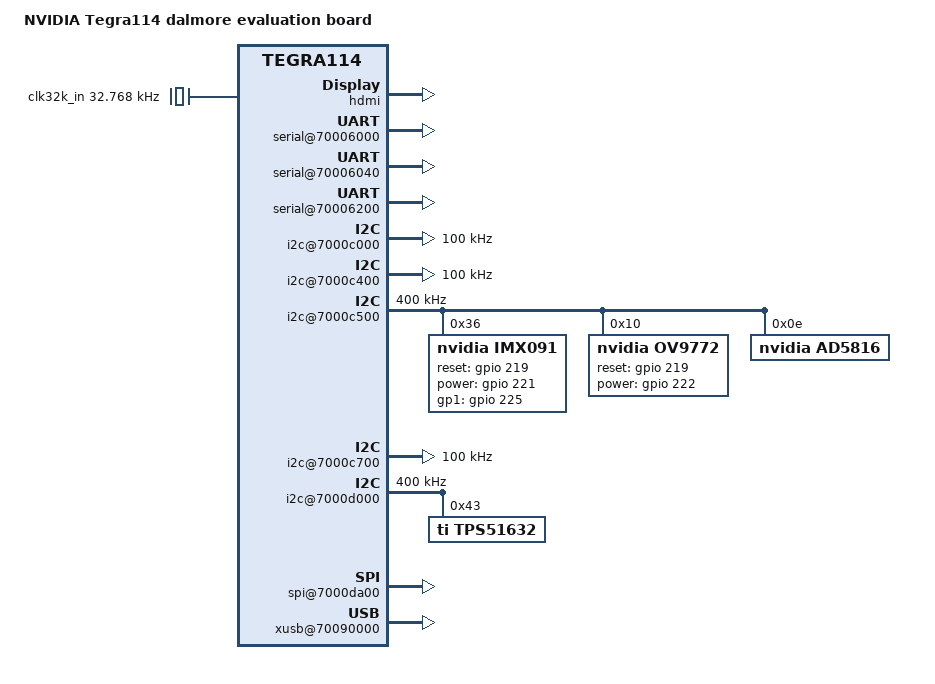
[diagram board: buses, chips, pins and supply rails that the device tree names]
# 1 "arch/arm/boot/dts/tegra114-dalmore.dts"
# 1 "<built-in>"
# 1 "<command-line>"
# 1 "arch/arm/boot/dts/tegra114-dalmore.dts"
# 1 "arch/arm/boot/dts/tegra114-dalmore-e1611-1000-a00-00.dts" 1
/dts-v1/;

# 1 "/usr/src/kernel/arch/arm/boot/dts/tegra114-platforms/tegra114-dalmore-io-e1611.dtsi" 1
/include/ "tegra114.dtsi"

/ {
 host1x {
  hdmi {
   status = "okay";
  };
 };

 serial@70006000 {
  compatible = "nvidia,tegra114-hsuart";
  status = "okay";
 };

 serial@70006040 {
  compatible = "nvidia,tegra114-hsuart";
  status = "okay";
 };

 serial@70006200 {
  compatible = "nvidia,tegra114-hsuart";
  status = "okay";
 };

 i2c@7000c000 {
  status = "okay";
  clock-frequency = <100000>;
 };

 i2c@7000c400 {
  status = "okay";
  clock-frequency = <100000>;
 };

 i2c@7000c500 {
  status = "okay";
  clock-frequency = <400000>;

  imx091@36 {
   compatible = "nvidia,imx091";
   reg = <0x36>;

   nvidia,num = <0>;
   nvidia,sync = <0>;
   nvidia,dev_name = "camera";


   reset-gpios = <&gpio 219 0>;
   power-gpios = <&gpio 221 0>;
   gp1-gpios = <&gpio 225 0>;


   nvidia,identifier = "IMX091";
   nvidia,sensor_nvc_interface = <3>;
   nvidia,pixel_types = <0x100>;
   nvidia,orientation = <0>;
   nvidia,direction = <0>;
   nvidia,initial_clock_rate_khz = <6000>;
   nvidia,h_sync_edge = <0>;
   nvidia,v_sync_edge = <0>;
   nvidia,mclk_on_vgp0 = <0>;
   nvidia,csi_port = <0>;
   nvidia,data_lanes = <4>;
   nvidia,virtual_channel_id = <0>;
   nvidia,discontinuous_clk_mode = <1>;
   nvidia,cil_threshold_settle = <0x0>;
   nvidia,min_blank_time_width = <16>;
   nvidia,min_blank_time_height = <16>;
   nvidia,preferred_mode_index = <0>;
   nvidia,external_clock_khz_0 = <24000>;
   nvidia,clock_multiplier_0 = <850000>;
   nvidia,external_clock_khz_1 = <0>;
   nvidia,clock_multiplier_1 = <0>;


   nvidia,sdo_trigger_enabled;
   nvidia,adjustable_flash_timing;

   status = "okay";

  };

  ov9772@10 {
   compatible = "nvidia,ov9772";
   reg = <0x10>;
   nvidia,num = <1>;

   nvidia,vcm_vdd;


   reset-gpios = <&gpio 219 0>;
   power-gpios = <&gpio 222 0>;

   nvidia,dev_name = "camera";
   status = "okay";
  };

  ad5816@0E {
   compatible = "nvidia,ad5816";
   reg = <0x0E>;
   nvidia,cfg = <0>;
   nvidia,num = <0>;
   nvidia,sync = <0>;
   nvidia,dev_name = "focuser";
   status = "okay";
  };
 };

 i2c@7000c700 {
  status = "okay";
  clock-frequency = <100000>;
 };

 i2c@7000d000 {
  status = "okay";
  clock-frequency = <400000>;

  tps51632 {
   compatible = "ti,tps51632";
   reg = <0x43>;
   regulator-name = "vdd_cpu";
   regulator-min-microvolt = <500000>;
   regulator-max-microvolt = <1520000>;
   regulator-boot-on;
   regulator-always-on;
   regulator-ramp-delay = <6000>;
  };
 };

 spi@7000da00 {
  status = "okay";
  spi-max-frequency = <25000000>;
  nvidia,dma-request-selector = <&apbdma 0>;
 };

 camera {
  status = "okay";
 };

 pmc {
  status = "okay";
  nvidia,invert-interrupt;
  nvidia,suspend-mode = <0>;
  nvidia,cpu-pwr-good-time = <500>;
  nvidia,cpu-pwr-off-time = <300>;
  nvidia,core-pwr-good-time = <3845 3845>;
  nvidia,core-pwr-off-time = <2000>;
  nvidia,core-power-req-active-high;
  nvidia,sys-clock-req-active-high;
 };

 sdhci@78000000 {
  status = "disabled";
 };

 sdhci@78000400 {
  cd-gpios = <&gpio 170 0>;
  tap-delay = <3>;
  trim-delay = <3>;
  ddr-clk-limit = <41000000>;
  base-clk = <208000000>;
  bus-width = <4>;
  status = "disabled";
 };

 sdhci@78000600 {
  tap-delay = <5>;
  trim-delay = <3>;
  ddr-clk-limit = <41000000>;
  base-clk = <104000000>;
  mmc-ocr-mask = <0>;
  bus-width = <8>;
  built-in;
  status = "disabled";
  non-removable;
 };

 clocks {
  compatible = "simple-bus";
  #address-cells = <1>;
  #size-cells = <0>;

  clk32k_in: clock {
   compatible = "fixed-clock";
   reg=<0>;
   #clock-cells = <0>;
   clock-frequency = <32768>;
  };

 };

 xusb@70090000 {


  nvidia,gpio_ss1_sata = <0>;
  nvidia,portmap = <0x301>;
  nvidia,ss_portmap = <0x1>;
  nvidia,lane_owner = <0>;
  nvidia,ulpicap = <0>;
  nvidia,supply_utmi_vbuses = "usb_vbus0", "usb_vbus1", "usb_vbus2";
  nvidia,supply_s3p3v = "hvdd_usb";
  nvidia,supply_s1p8v = "avdd_usb_pll";
  nvidia,supply_vddio_hsic = "vddio_hsic";
  nvidia,supply_s1p05v = "avddio_usb";
  status = "okay";
 };
};
# 4 "arch/arm/boot/dts/tegra114-dalmore-e1611-1000-a00-00.dts" 2
# 1 "/usr/src/kernel/arch/arm/boot/dts/tegra114-platforms/tegra114-dalmore-e1611-gpio-default.dtsi" 1
# 1 "/usr/src/kernel/arch/arm/boot/dts/include/dt-bindings/gpio/tegra-gpio.h" 1
# 13 "/usr/src/kernel/arch/arm/boot/dts/include/dt-bindings/gpio/tegra-gpio.h"
# 1 "/usr/src/kernel/arch/arm/boot/dts/include/dt-bindings/gpio/gpio.h" 1
# 14 "/usr/src/kernel/arch/arm/boot/dts/include/dt-bindings/gpio/tegra-gpio.h" 2
# 2 "/usr/src/kernel/arch/arm/boot/dts/tegra114-platforms/tegra114-dalmore-e1611-gpio-default.dtsi" 2

/ {
 gpio: gpio {
  gpio-init-names = "default";
  gpio-init-0 = <&gpio_default>;

  gpio_default: default {
   gpio-input = <((23 * 8) + 5)
          ((23 * 8) + 6)
          ((22 * 8) + 2)
          ((22 * 8) + 3)
          ((23 * 8) + 1)
          ((23 * 8) + 3)
          ((21 * 8) + 0)
          ((21 * 8) + 1)
          ((28 * 8) + 1)
          ((28 * 8) + 2)
          ((7 * 8) + 4)
          ((7 * 8) + 7)
          ((6 * 8) + 2)
          ((6 * 8) + 3)
          ((10 * 8) + 0)
          ((9 * 8) + 0)
          ((10 * 8) + 3)
          ((10 * 8) + 2)
          ((8 * 8) + 6)
          ((9 * 8) + 3)
          ((8 * 8) + 4)
          ((2 * 8) + 7)
          ((16 * 8) + 5)
          ((17 * 8) + 3)
          ((17 * 8) + 4)
          ((17 * 8) + 6)
          ((17 * 8) + 7)
          ((18 * 8) + 0)
          ((20 * 8) + 1)
          ((20 * 8) + 2)
          ((20 * 8) + 5)
          ((20 * 8) + 6)
          ((13 * 8) + 7)
          ((10 * 8) + 5)>;

   gpio-output-low = <((23 * 8) + 4)
        ((23 * 8) + 7)
        ((15 * 8) + 1)
        ((15 * 8) + 2)
        ((15 * 8) + 0)
        ((15 * 8) + 3)
        ((27 * 8) + 3)
        ((27 * 8) + 5)
        ((27 * 8) + 6)
        ((10 * 8) + 4)
        ((27 * 8) + 7)
        ((6 * 8) + 0)
        ((6 * 8) + 1)
        ((7 * 8) + 2)
        ((7 * 8) + 3)
        ((7 * 8) + 5)
        ((7 * 8) + 6)
        ((6 * 8) + 4)
        ((7 * 8) + 0)
        ((10 * 8) + 1)
        ((8 * 8) + 7)
        ((28 * 8) + 5)
        ((21 * 8) + 3)
        ((16 * 8) + 3)
        ((16 * 8) + 6)
        ((16 * 8) + 7)
        ((17 * 8) + 5)
        ((30 * 8) + 1)
        ((20 * 8) + 0)
        ((20 * 8) + 3)
        ((20 * 8) + 4)>;
  };
 };
};
# 5 "arch/arm/boot/dts/tegra114-dalmore-e1611-1000-a00-00.dts" 2
# 1 "/usr/src/kernel/arch/arm/boot/dts/tegra114-platforms/tegra114-dalmore-e1611-pinmux.dtsi" 1
# 1 "/usr/src/kernel/arch/arm/boot/dts/include/dt-bindings/pinctrl/pinctrl-tegra.h" 1
# 2 "/usr/src/kernel/arch/arm/boot/dts/tegra114-platforms/tegra114-dalmore-e1611-pinmux.dtsi" 2

/ {
 pinmux: pinmux {
  pinctrl-names = "default", "drive", "unused";
  pinctrl-0 = <&pinmux_default>;
  pinctrl-1 = <&drive_default>;
  pinctrl-2 = <&pinmux_unused_lowpower>;

  pinmux_default: default {
   gpio_x4_aud_px4 {
    nvidia,pins = "gpio_x4_aud_px4";
    nvidia,function = "safe";
    nvidia,enable-input = <0>;
    nvidia,pull = <1>;
    nvidia,tristate = <0>;
   };

   gpio_x5_aud_px5 {
    nvidia,pins = "gpio_x5_aud_px5";
    nvidia,function = "safe";
    nvidia,enable-input = <1>;
    nvidia,pull = <2>;
    nvidia,tristate = <0>;
   };

   gpio_x7_aud_px7 {
    nvidia,pins = "gpio_x7_aud_px7";
    nvidia,function = "safe";
    nvidia,enable-input = <0>;
    nvidia,pull = <1>;
    nvidia,tristate = <0>;
   };

   gpio_w2_aud_pw2 {
    nvidia,pins = "gpio_w2_aud_pw2";
    nvidia,function = "safe";
    nvidia,enable-input = <1>;
    nvidia,pull = <2>;
    nvidia,tristate = <0>;
   };

   gpio_w3_aud_pw3 {
    nvidia,pins = "gpio_w3_aud_pw3";
    nvidia,function = "spi6";
    nvidia,enable-input = <1>;
    nvidia,pull = <2>;
    nvidia,tristate = <0>;
   };

   gpio_x1_aud_px1 {
    nvidia,pins = "gpio_x1_aud_px1";
    nvidia,function = "rsvd3";
    nvidia,enable-input = <1>;
    nvidia,pull = <1>;
    nvidia,tristate = <0>;
   };

   gpio_x3_aud_px3 {
    nvidia,pins = "gpio_x3_aud_px3";
    nvidia,function = "rsvd3";
    nvidia,enable-input = <1>;
    nvidia,pull = <2>;
    nvidia,tristate = <0>;
   };

   dap3_fs_pp0 {
    nvidia,pins = "dap3_fs_pp0";
    nvidia,function = "i2s2";
    nvidia,enable-input = <0>;
    nvidia,pull = <1>;
    nvidia,tristate = <0>;
   };

   dap3_din_pp1 {
    nvidia,pins = "dap3_din_pp1";
    nvidia,function = "i2s2";
    nvidia,enable-input = <0>;
    nvidia,pull = <1>;
    nvidia,tristate = <0>;
   };

   dap3_dout_pp2 {
    nvidia,pins = "dap3_dout_pp2";
    nvidia,function = "i2s2";
    nvidia,enable-input = <0>;
    nvidia,pull = <1>;
    nvidia,tristate = <0>;
   };

   dap3_sclk_pp3 {
    nvidia,pins = "dap3_sclk_pp3";
    nvidia,function = "i2s2";
    nvidia,enable-input = <0>;
    nvidia,pull = <1>;
    nvidia,tristate = <0>;
   };

   pv0 {
    nvidia,pins = "pv0";
    nvidia,function = "rsvd3";
    nvidia,enable-input = <1>;
    nvidia,pull = <0>;
    nvidia,tristate = <0>;
   };

   pv1 {
    nvidia,pins = "pv1";
    nvidia,function = "safe";
    nvidia,enable-input = <1>;
    nvidia,pull = <0>;
    nvidia,tristate = <0>;
   };

   pbb3 {
    nvidia,pins = "pbb3";
    nvidia,function = "safe";
    nvidia,enable-input = <0>;
    nvidia,pull = <1>;
    nvidia,tristate = <0>;
   };

   pbb5 {
    nvidia,pins = "pbb5";
    nvidia,function = "safe";
    nvidia,enable-input = <0>;
    nvidia,pull = <1>;
    nvidia,tristate = <0>;
   };

   pbb6 {
    nvidia,pins = "pbb6";
    nvidia,function = "safe";
    nvidia,enable-input = <0>;
    nvidia,pull = <1>;
    nvidia,tristate = <0>;
   };

   pbb7 {
    nvidia,pins = "pbb7";
    nvidia,function = "safe";
    nvidia,enable-input = <0>;
    nvidia,pull = <1>;
    nvidia,tristate = <0>;
   };

   pcc1 {
    nvidia,pins = "pcc1";
    nvidia,function = "rsvd3";
    nvidia,enable-input = <1>;
    nvidia,pull = <1>;
    nvidia,tristate = <0>;
   };

   pcc2 {
    nvidia,pins = "pcc2";
    nvidia,function = "rsvd3";
    nvidia,enable-input = <1>;
    nvidia,pull = <1>;
    nvidia,tristate = <0>;
   };

   gmi_ad0_pg0 {
    nvidia,pins = "gmi_ad0_pg0";
    nvidia,function = "gmi";
    nvidia,enable-input = <0>;
    nvidia,pull = <0>;
    nvidia,tristate = <0>;
   };

   gmi_ad1_pg1 {
    nvidia,pins = "gmi_ad1_pg1";
    nvidia,function = "gmi";
    nvidia,enable-input = <0>;
    nvidia,pull = <0>;
    nvidia,tristate = <0>;
   };

   gmi_ad10_ph2 {
    nvidia,pins = "gmi_ad10_ph2";
    nvidia,function = "gmi";
    nvidia,enable-input = <0>;
    nvidia,pull = <1>;
    nvidia,tristate = <0>;
   };

   gmi_ad11_ph3 {
    nvidia,pins = "gmi_ad11_ph3";
    nvidia,function = "gmi";
    nvidia,enable-input = <0>;
    nvidia,pull = <1>;
    nvidia,tristate = <0>;
   };

   gmi_ad12_ph4 {
    nvidia,pins = "gmi_ad12_ph4";
    nvidia,function = "gmi";
    nvidia,enable-input = <1>;
    nvidia,pull = <2>;
    nvidia,tristate = <0>;
   };

   gmi_ad13_ph5 {
    nvidia,pins = "gmi_ad13_ph5";
    nvidia,function = "gmi";
    nvidia,enable-input = <0>;
    nvidia,pull = <1>;
    nvidia,tristate = <0>;
   };

   gmi_ad2_pg2 {
    nvidia,pins = "gmi_ad2_pg2";
    nvidia,function = "gmi";
    nvidia,enable-input = <1>;
    nvidia,pull = <0>;
    nvidia,tristate = <0>;
   };

   gmi_ad3_pg3 {
    nvidia,pins = "gmi_ad3_pg3";
    nvidia,function = "gmi";
    nvidia,enable-input = <1>;
    nvidia,pull = <0>;
    nvidia,tristate = <0>;
   };

   gmi_ad8_ph0 {
    nvidia,pins = "gmi_ad8_ph0";
    nvidia,function = "gmi";
    nvidia,enable-input = <0>;
    nvidia,pull = <1>;
    nvidia,tristate = <0>;
   };

   gmi_adv_n_pk0 {
    nvidia,pins = "gmi_adv_n_pk0";
    nvidia,function = "gmi";
    nvidia,enable-input = <1>;
    nvidia,pull = <2>;
    nvidia,tristate = <0>;
   };

   gmi_clk_pk1 {
    nvidia,pins = "gmi_clk_pk1";
    nvidia,function = "gmi";
    nvidia,enable-input = <0>;
    nvidia,pull = <1>;
    nvidia,tristate = <0>;
   };

   gmi_cs0_n_pj0 {
    nvidia,pins = "gmi_cs0_n_pj0";
    nvidia,function = "gmi";
    nvidia,enable-input = <1>;
    nvidia,pull = <2>;
    nvidia,tristate = <0>;
   };

   gmi_cs2_n_pk3 {
    nvidia,pins = "gmi_cs2_n_pk3";
    nvidia,function = "gmi";
    nvidia,enable-input = <1>;
    nvidia,pull = <2>;
    nvidia,tristate = <0>;
   };

   gmi_cs3_n_pk4 {
    nvidia,pins = "gmi_cs3_n_pk4";
    nvidia,function = "gmi";
    nvidia,enable-input = <0>;
    nvidia,pull = <2>;
    nvidia,tristate = <0>;
   };

   gmi_cs4_n_pk2 {
    nvidia,pins = "gmi_cs4_n_pk2";
    nvidia,function = "gmi";
    nvidia,enable-input = <1>;
    nvidia,pull = <2>;
    nvidia,tristate = <0>;
   };

   gmi_cs7_n_pi6 {
    nvidia,pins = "gmi_cs7_n_pi6";
    nvidia,function = "gmi";
    nvidia,enable-input = <1>;
    nvidia,pull = <2>;
    nvidia,tristate = <0>;
   };

   gmi_dqs_p_pj3 {
    nvidia,pins = "gmi_dqs_p_pj3";
    nvidia,function = "gmi";
    nvidia,enable-input = <1>;
    nvidia,pull = <2>;
    nvidia,tristate = <0>;
   };

   gmi_iordy_pi5 {
    nvidia,pins = "gmi_iordy_pi5";
    nvidia,function = "gmi";
    nvidia,enable-input = <1>;
    nvidia,pull = <2>;
    nvidia,tristate = <0>;
   };

   gmi_wp_n_pc7 {
    nvidia,pins = "gmi_wp_n_pc7";
    nvidia,function = "gmi";
    nvidia,enable-input = <1>;
    nvidia,pull = <2>;
    nvidia,tristate = <0>;
   };

   sdmmc1_wp_n_pv3 {
    nvidia,pins = "sdmmc1_wp_n_pv3";
    nvidia,function = "spi4";
    nvidia,enable-input = <0>;
    nvidia,pull = <2>;
    nvidia,tristate = <0>;
   };

   clk2_req_pcc5 {
    nvidia,pins = "clk2_req_pcc5";
    nvidia,function = "rsvd3";
    nvidia,enable-input = <0>;
    nvidia,pull = <0>;
    nvidia,tristate = <0>;
   };

   kb_col3_pq3 {
    nvidia,pins = "kb_col3_pq3";
    nvidia,function = "kbc";
    nvidia,enable-input = <0>;
    nvidia,pull = <2>;
    nvidia,tristate = <0>;
   };

   kb_col5_pq5 {
    nvidia,pins = "kb_col5_pq5";
    nvidia,function = "kbc";
    nvidia,enable-input = <1>;
    nvidia,pull = <2>;
    nvidia,tristate = <0>;
   };

   kb_col6_pq6 {
    nvidia,pins = "kb_col6_pq6";
    nvidia,function = "kbc";
    nvidia,enable-input = <0>;
    nvidia,pull = <2>;
    nvidia,tristate = <0>;
   };

   kb_col7_pq7 {
    nvidia,pins = "kb_col7_pq7";
    nvidia,function = "kbc";
    nvidia,enable-input = <0>;
    nvidia,pull = <2>;
    nvidia,tristate = <0>;
   };

   kb_row3_pr3 {
    nvidia,pins = "kb_row3_pr3";
    nvidia,function = "kbc";
    nvidia,enable-input = <1>;
    nvidia,pull = <1>;
    nvidia,tristate = <0>;
   };

   kb_row4_pr4 {
    nvidia,pins = "kb_row4_pr4";
    nvidia,function = "kbc";
    nvidia,enable-input = <1>;
    nvidia,pull = <1>;
    nvidia,tristate = <0>;
   };

   kb_row6_pr6 {
    nvidia,pins = "kb_row6_pr6";
    nvidia,function = "kbc";
    nvidia,enable-input = <1>;
    nvidia,pull = <1>;
    nvidia,tristate = <0>;
   };

   kb_row7_pr7 {
    nvidia,pins = "kb_row7_pr7";
    nvidia,function = "kbc";
    nvidia,enable-input = <1>;
    nvidia,pull = <2>;
    nvidia,tristate = <0>;
   };

   kb_row8_ps0 {
    nvidia,pins = "kb_row8_ps0";
    nvidia,function = "kbc";
    nvidia,enable-input = <1>;
    nvidia,pull = <2>;
    nvidia,tristate = <0>;
   };

   clk3_req_pee1 {
    nvidia,pins = "clk3_req_pee1";
    nvidia,function = "rsvd3";
    nvidia,enable-input = <0>;
    nvidia,pull = <0>;
    nvidia,tristate = <0>;
   };

   pu4 {
    nvidia,pins = "pu4";
    nvidia,function = "pwm1";
    nvidia,enable-input = <0>;
    nvidia,pull = <0>;
    nvidia,tristate = <0>;
   };

   pu5 {
    nvidia,pins = "pu5";
    nvidia,function = "pwm2";
    nvidia,enable-input = <1>;
    nvidia,pull = <0>;
    nvidia,tristate = <0>;
   };

   pu6 {
    nvidia,pins = "pu6";
    nvidia,function = "pwm3";
    nvidia,enable-input = <1>;
    nvidia,pull = <0>;
    nvidia,tristate = <0>;
   };

   hdmi_int_pn7 {
    nvidia,pins = "hdmi_int_pn7";
    nvidia,function = "safe";
    nvidia,enable-input = <1>;
    nvidia,pull = <1>;
    nvidia,tristate = <0>;
   };

   gmi_ad9_ph1 {
    nvidia,pins = "gmi_ad9_ph1";
    nvidia,function = "pwm1";
    nvidia,enable-input = <0>;
    nvidia,pull = <0>;
    nvidia,tristate = <0>;
   };

   clk1_out_pw4 {
    nvidia,pins = "clk1_out_pw4";
    nvidia,function = "extperiph1";
    nvidia,enable-input = <0>;
    nvidia,pull = <0>;
    nvidia,tristate = <0>;
   };

   dap1_din_pn1 {
    nvidia,pins = "dap1_din_pn1";
    nvidia,function = "i2s0";
    nvidia,enable-input = <1>;
    nvidia,pull = <0>;
    nvidia,tristate = <1>;
   };

   dap1_dout_pn2 {
    nvidia,pins = "dap1_dout_pn2";
    nvidia,function = "i2s0";
    nvidia,enable-input = <1>;
    nvidia,pull = <0>;
    nvidia,tristate = <0>;
   };

   dap1_fs_pn0 {
    nvidia,pins = "dap1_fs_pn0";
    nvidia,function = "i2s0";
    nvidia,enable-input = <1>;
    nvidia,pull = <0>;
    nvidia,tristate = <0>;
   };

   dap1_sclk_pn3 {
    nvidia,pins = "dap1_sclk_pn3";
    nvidia,function = "i2s0";
    nvidia,enable-input = <1>;
    nvidia,pull = <0>;
    nvidia,tristate = <0>;
   };

   dap2_din_pa4 {
    nvidia,pins = "dap2_din_pa4";
    nvidia,function = "i2s1";
    nvidia,enable-input = <1>;
    nvidia,pull = <0>;
    nvidia,tristate = <1>;
   };

   dap2_dout_pa5 {
    nvidia,pins = "dap2_dout_pa5";
    nvidia,function = "i2s1";
    nvidia,enable-input = <1>;
    nvidia,pull = <0>;
    nvidia,tristate = <0>;
   };

   dap2_fs_pa2 {
    nvidia,pins = "dap2_fs_pa2";
    nvidia,function = "i2s1";
    nvidia,enable-input = <1>;
    nvidia,pull = <0>;
    nvidia,tristate = <0>;
   };

   dap2_sclk_pa3 {
    nvidia,pins = "dap2_sclk_pa3";
    nvidia,function = "i2s1";
    nvidia,enable-input = <1>;
    nvidia,pull = <0>;
    nvidia,tristate = <0>;
   };

   dap4_din_pp5 {
    nvidia,pins = "dap4_din_pp5";
    nvidia,function = "i2s3";
    nvidia,enable-input = <1>;
    nvidia,pull = <0>;
    nvidia,tristate = <0>;
   };

   dap4_dout_pp6 {
    nvidia,pins = "dap4_dout_pp6";
    nvidia,function = "i2s3";
    nvidia,enable-input = <1>;
    nvidia,pull = <0>;
    nvidia,tristate = <0>;
   };

   dap4_fs_pp4 {
    nvidia,pins = "dap4_fs_pp4";
    nvidia,function = "i2s3";
    nvidia,enable-input = <1>;
    nvidia,pull = <0>;
    nvidia,tristate = <0>;
   };

   dap4_sclk_pp7 {
    nvidia,pins = "dap4_sclk_pp7";
    nvidia,function = "i2s3";
    nvidia,enable-input = <1>;
    nvidia,pull = <0>;
    nvidia,tristate = <0>;
   };

   dvfs_pwm_px0 {
    nvidia,pins = "dvfs_pwm_px0";
    nvidia,function = "cldvfs";
    nvidia,enable-input = <0>;
    nvidia,pull = <0>;
    nvidia,tristate = <0>;
   };

   dvfs_clk_px2 {
    nvidia,pins = "dvfs_clk_px2";
    nvidia,function = "cldvfs";
    nvidia,enable-input = <0>;
    nvidia,pull = <0>;
    nvidia,tristate = <0>;
   };

   ulpi_clk_py0 {
    nvidia,pins = "ulpi_clk_py0";
    nvidia,function = "ulpi";
    nvidia,enable-input = <1>;
    nvidia,pull = <0>;
    nvidia,tristate = <0>;
   };

   ulpi_data0_po1 {
    nvidia,pins = "ulpi_data0_po1";
    nvidia,function = "ulpi";
    nvidia,enable-input = <1>;
    nvidia,pull = <0>;
    nvidia,tristate = <0>;
   };

   ulpi_data1_po2 {
    nvidia,pins = "ulpi_data1_po2";
    nvidia,function = "ulpi";
    nvidia,enable-input = <1>;
    nvidia,pull = <0>;
    nvidia,tristate = <0>;
   };

   ulpi_data2_po3 {
    nvidia,pins = "ulpi_data2_po3";
    nvidia,function = "ulpi";
    nvidia,enable-input = <1>;
    nvidia,pull = <0>;
    nvidia,tristate = <0>;
   };

   ulpi_data3_po4 {
    nvidia,pins = "ulpi_data3_po4";
    nvidia,function = "ulpi";
    nvidia,enable-input = <1>;
    nvidia,pull = <0>;
    nvidia,tristate = <0>;
   };

   ulpi_data4_po5 {
    nvidia,pins = "ulpi_data4_po5";
    nvidia,function = "ulpi";
    nvidia,enable-input = <1>;
    nvidia,pull = <0>;
    nvidia,tristate = <0>;
   };

   ulpi_data5_po6 {
    nvidia,pins = "ulpi_data5_po6";
    nvidia,function = "ulpi";
    nvidia,enable-input = <1>;
    nvidia,pull = <0>;
    nvidia,tristate = <0>;
   };

   ulpi_data6_po7 {
    nvidia,pins = "ulpi_data6_po7";
    nvidia,function = "ulpi";
    nvidia,enable-input = <1>;
    nvidia,pull = <0>;
    nvidia,tristate = <0>;
   };

   ulpi_data7_po0 {
    nvidia,pins = "ulpi_data7_po0";
    nvidia,function = "ulpi";
    nvidia,enable-input = <1>;
    nvidia,pull = <0>;
    nvidia,tristate = <0>;
   };

   ulpi_dir_py1 {
    nvidia,pins = "ulpi_dir_py1";
    nvidia,function = "ulpi";
    nvidia,enable-input = <1>;
    nvidia,pull = <0>;
    nvidia,tristate = <1>;
   };

   ulpi_nxt_py2 {
    nvidia,pins = "ulpi_nxt_py2";
    nvidia,function = "ulpi";
    nvidia,enable-input = <1>;
    nvidia,pull = <0>;
    nvidia,tristate = <1>;
   };

   ulpi_stp_py3 {
    nvidia,pins = "ulpi_stp_py3";
    nvidia,function = "ulpi";
    nvidia,enable-input = <0>;
    nvidia,pull = <0>;
    nvidia,tristate = <0>;
   };

   cam_i2c_scl_pbb1 {
    nvidia,pins = "cam_i2c_scl_pbb1";
    nvidia,function = "i2c3";
    nvidia,enable-input = <1>;
    nvidia,pull = <0>;
    nvidia,tristate = <0>;
    nvidia,lock = <0>;
    nvidia,open-drain = <0>;
   };

   cam_i2c_sda_pbb2 {
    nvidia,pins = "cam_i2c_sda_pbb2";
    nvidia,function = "i2c3";
    nvidia,enable-input = <1>;
    nvidia,pull = <0>;
    nvidia,tristate = <0>;
    nvidia,lock = <0>;
    nvidia,open-drain = <0>;
   };

   cam_mclk_pcc0 {
    nvidia,pins = "cam_mclk_pcc0";
    nvidia,function = "vi_alt3";
    nvidia,enable-input = <0>;
    nvidia,pull = <0>;
    nvidia,tristate = <0>;
   };

   pbb0 {
    nvidia,pins = "pbb0";
    nvidia,function = "vi_alt3";
    nvidia,enable-input = <0>;
    nvidia,pull = <0>;
    nvidia,tristate = <0>;
   };

   pbb4 {
    nvidia,pins = "pbb4";
    nvidia,function = "vgp4";
    nvidia,enable-input = <0>;
    nvidia,pull = <0>;
    nvidia,tristate = <0>;
   };

   gen2_i2c_scl_pt5 {
    nvidia,pins = "gen2_i2c_scl_pt5";
    nvidia,function = "i2c2";
    nvidia,enable-input = <1>;
    nvidia,pull = <0>;
    nvidia,tristate = <0>;
    nvidia,lock = <0>;
    nvidia,open-drain = <0>;
   };

   gen2_i2c_sda_pt6 {
    nvidia,pins = "gen2_i2c_sda_pt6";
    nvidia,function = "i2c2";
    nvidia,enable-input = <1>;
    nvidia,pull = <0>;
    nvidia,tristate = <0>;
    nvidia,lock = <0>;
    nvidia,open-drain = <0>;
   };

   gmi_a16_pj7 {
    nvidia,pins = "gmi_a16_pj7";
    nvidia,function = "uartd";
    nvidia,enable-input = <0>;
    nvidia,pull = <0>;
    nvidia,tristate = <0>;
   };

   gmi_a17_pb0 {
    nvidia,pins = "gmi_a17_pb0";
    nvidia,function = "uartd";
    nvidia,enable-input = <1>;
    nvidia,pull = <0>;
    nvidia,tristate = <1>;
   };

   gmi_a18_pb1 {
    nvidia,pins = "gmi_a18_pb1";
    nvidia,function = "uartd";
    nvidia,enable-input = <1>;
    nvidia,pull = <0>;
    nvidia,tristate = <1>;
   };

   gmi_a19_pk7 {
    nvidia,pins = "gmi_a19_pk7";
    nvidia,function = "uartd";
    nvidia,enable-input = <0>;
    nvidia,pull = <0>;
    nvidia,tristate = <0>;
   };

   gmi_ad5_pg5 {
    nvidia,pins = "gmi_ad5_pg5";
    nvidia,function = "spi4";
    nvidia,enable-input = <1>;
    nvidia,pull = <0>;
    nvidia,tristate = <0>;
   };

   gmi_ad6_pg6 {
    nvidia,pins = "gmi_ad6_pg6";
    nvidia,function = "spi4";
    nvidia,enable-input = <1>;
    nvidia,pull = <2>;
    nvidia,tristate = <0>;
   };

   gmi_ad7_pg7 {
    nvidia,pins = "gmi_ad7_pg7";
    nvidia,function = "spi4";
    nvidia,enable-input = <1>;
    nvidia,pull = <2>;
    nvidia,tristate = <0>;
   };

   gmi_cs6_n_pi3 {
    nvidia,pins = "gmi_cs6_n_pi3";
    nvidia,function = "spi4";
    nvidia,enable-input = <1>;
    nvidia,pull = <0>;
    nvidia,tristate = <0>;
   };

   gmi_wr_n_pi0 {
    nvidia,pins = "gmi_wr_n_pi0";
    nvidia,function = "spi4";
    nvidia,enable-input = <1>;
    nvidia,pull = <0>;
    nvidia,tristate = <0>;
   };

   gmi_cs1_n_pj2 {
    nvidia,pins = "gmi_cs1_n_pj2";
    nvidia,function = "soc";
    nvidia,enable-input = <1>;
    nvidia,pull = <0>;
    nvidia,tristate = <1>;
   };

   gmi_oe_n_pi1 {
    nvidia,pins = "gmi_oe_n_pi1";
    nvidia,function = "soc";
    nvidia,enable-input = <1>;
    nvidia,pull = <0>;
    nvidia,tristate = <1>;
   };

   clk2_out_pw5 {
    nvidia,pins = "clk2_out_pw5";
    nvidia,function = "extperiph2";
    nvidia,enable-input = <0>;
    nvidia,pull = <0>;
    nvidia,tristate = <0>;
   };

   sdmmc1_clk_pz0 {
    nvidia,pins = "sdmmc1_clk_pz0";
    nvidia,function = "sdmmc1";
    nvidia,enable-input = <1>;
    nvidia,pull = <0>;
    nvidia,tristate = <0>;
   };

   sdmmc1_cmd_pz1 {
    nvidia,pins = "sdmmc1_cmd_pz1";
    nvidia,function = "sdmmc1";
    nvidia,enable-input = <1>;
    nvidia,pull = <2>;
    nvidia,tristate = <0>;
   };

   sdmmc1_dat0_py7 {
    nvidia,pins = "sdmmc1_dat0_py7";
    nvidia,function = "sdmmc1";
    nvidia,enable-input = <1>;
    nvidia,pull = <2>;
    nvidia,tristate = <0>;
   };

   sdmmc1_dat1_py6 {
    nvidia,pins = "sdmmc1_dat1_py6";
    nvidia,function = "sdmmc1";
    nvidia,enable-input = <1>;
    nvidia,pull = <2>;
    nvidia,tristate = <0>;
   };

   sdmmc1_dat2_py5 {
    nvidia,pins = "sdmmc1_dat2_py5";
    nvidia,function = "sdmmc1";
    nvidia,enable-input = <1>;
    nvidia,pull = <2>;
    nvidia,tristate = <0>;
   };

   sdmmc1_dat3_py4 {
    nvidia,pins = "sdmmc1_dat3_py4";
    nvidia,function = "sdmmc1";
    nvidia,enable-input = <1>;
    nvidia,pull = <2>;
    nvidia,tristate = <0>;
   };

   sdmmc3_clk_pa6 {
    nvidia,pins = "sdmmc3_clk_pa6";
    nvidia,function = "sdmmc3";
    nvidia,enable-input = <1>;
    nvidia,pull = <0>;
    nvidia,tristate = <0>;
   };

   sdmmc3_cmd_pa7 {
    nvidia,pins = "sdmmc3_cmd_pa7";
    nvidia,function = "sdmmc3";
    nvidia,enable-input = <1>;
    nvidia,pull = <2>;
    nvidia,tristate = <0>;
   };

   sdmmc3_dat0_pb7 {
    nvidia,pins = "sdmmc3_dat0_pb7";
    nvidia,function = "sdmmc3";
    nvidia,enable-input = <1>;
    nvidia,pull = <2>;
    nvidia,tristate = <0>;
   };

   sdmmc3_dat1_pb6 {
    nvidia,pins = "sdmmc3_dat1_pb6";
    nvidia,function = "sdmmc3";
    nvidia,enable-input = <1>;
    nvidia,pull = <2>;
    nvidia,tristate = <0>;
   };

   sdmmc3_dat2_pb5 {
    nvidia,pins = "sdmmc3_dat2_pb5";
    nvidia,function = "sdmmc3";
    nvidia,enable-input = <1>;
    nvidia,pull = <2>;
    nvidia,tristate = <0>;
   };

   sdmmc3_dat3_pb4 {
    nvidia,pins = "sdmmc3_dat3_pb4";
    nvidia,function = "sdmmc3";
    nvidia,enable-input = <1>;
    nvidia,pull = <2>;
    nvidia,tristate = <0>;
   };

   kb_col4_pq4 {
    nvidia,pins = "kb_col4_pq4";
    nvidia,function = "sdmmc3";
    nvidia,enable-input = <1>;
    nvidia,pull = <2>;
    nvidia,tristate = <0>;
   };

   sdmmc3_cd_n_pv2 {
    nvidia,pins = "sdmmc3_cd_n_pv2";
    nvidia,function = "sdmmc3";
    nvidia,enable-input = <1>;
    nvidia,pull = <2>;
    nvidia,tristate = <0>;
   };

   sdmmc3_clk_lb_out_pee4 {
    nvidia,pins = "sdmmc3_clk_lb_out_pee4";
    nvidia,function = "sdmmc3";
    nvidia,enable-input = <1>;
    nvidia,pull = <2>;
    nvidia,tristate = <0>;
   };

   sdmmc3_clk_lb_in_pee5 {
    nvidia,pins = "sdmmc3_clk_lb_in_pee5";
    nvidia,function = "sdmmc3";
    nvidia,enable-input = <1>;
    nvidia,pull = <2>;
    nvidia,tristate = <0>;
   };

   sdmmc4_clk_pcc4 {
    nvidia,pins = "sdmmc4_clk_pcc4";
    nvidia,function = "sdmmc4";
    nvidia,enable-input = <1>;
    nvidia,pull = <0>;
    nvidia,tristate = <0>;
   };

   sdmmc4_cmd_pt7 {
    nvidia,pins = "sdmmc4_cmd_pt7";
    nvidia,function = "sdmmc4";
    nvidia,enable-input = <1>;
    nvidia,pull = <2>;
    nvidia,tristate = <0>;
   };

   sdmmc4_dat0_paa0 {
    nvidia,pins = "sdmmc4_dat0_paa0";
    nvidia,function = "sdmmc4";
    nvidia,enable-input = <1>;
    nvidia,pull = <2>;
    nvidia,tristate = <0>;
   };

   sdmmc4_dat1_paa1 {
    nvidia,pins = "sdmmc4_dat1_paa1";
    nvidia,function = "sdmmc4";
    nvidia,enable-input = <1>;
    nvidia,pull = <2>;
    nvidia,tristate = <0>;
   };

   sdmmc4_dat2_paa2 {
    nvidia,pins = "sdmmc4_dat2_paa2";
    nvidia,function = "sdmmc4";
    nvidia,enable-input = <1>;
    nvidia,pull = <2>;
    nvidia,tristate = <0>;
   };

   sdmmc4_dat3_paa3 {
    nvidia,pins = "sdmmc4_dat3_paa3";
    nvidia,function = "sdmmc4";
    nvidia,enable-input = <1>;
    nvidia,pull = <2>;
    nvidia,tristate = <0>;
   };

   sdmmc4_dat4_paa4 {
    nvidia,pins = "sdmmc4_dat4_paa4";
    nvidia,function = "sdmmc4";
    nvidia,enable-input = <1>;
    nvidia,pull = <2>;
    nvidia,tristate = <0>;
   };

   sdmmc4_dat5_paa5 {
    nvidia,pins = "sdmmc4_dat5_paa5";
    nvidia,function = "sdmmc4";
    nvidia,enable-input = <1>;
    nvidia,pull = <2>;
    nvidia,tristate = <0>;
   };

   sdmmc4_dat6_paa6 {
    nvidia,pins = "sdmmc4_dat6_paa6";
    nvidia,function = "sdmmc4";
    nvidia,enable-input = <1>;
    nvidia,pull = <2>;
    nvidia,tristate = <0>;
   };

   sdmmc4_dat7_paa7 {
    nvidia,pins = "sdmmc4_dat7_paa7";
    nvidia,function = "sdmmc4";
    nvidia,enable-input = <1>;
    nvidia,pull = <2>;
    nvidia,tristate = <0>;
   };

   clk_32k_out_pa0 {
    nvidia,pins = "clk_32k_out_pa0";
    nvidia,function = "blink";
    nvidia,enable-input = <0>;
    nvidia,pull = <0>;
    nvidia,tristate = <0>;
   };

   kb_col0_pq0 {
    nvidia,pins = "kb_col0_pq0";
    nvidia,function = "kbc";
    nvidia,enable-input = <1>;
    nvidia,pull = <2>;
    nvidia,tristate = <0>;
   };

   kb_col1_pq1 {
    nvidia,pins = "kb_col1_pq1";
    nvidia,function = "kbc";
    nvidia,enable-input = <1>;
    nvidia,pull = <2>;
    nvidia,tristate = <0>;
   };

   kb_col2_pq2 {
    nvidia,pins = "kb_col2_pq2";
    nvidia,function = "kbc";
    nvidia,enable-input = <1>;
    nvidia,pull = <2>;
    nvidia,tristate = <0>;
   };

   kb_row0_pr0 {
    nvidia,pins = "kb_row0_pr0";
    nvidia,function = "kbc";
    nvidia,enable-input = <1>;
    nvidia,pull = <2>;
    nvidia,tristate = <0>;
   };

   kb_row1_pr1 {
    nvidia,pins = "kb_row1_pr1";
    nvidia,function = "kbc";
    nvidia,enable-input = <1>;
    nvidia,pull = <2>;
    nvidia,tristate = <0>;
   };

   kb_row2_pr2 {
    nvidia,pins = "kb_row2_pr2";
    nvidia,function = "kbc";
    nvidia,enable-input = <1>;
    nvidia,pull = <2>;
    nvidia,tristate = <0>;
   };

   kb_row10_ps2 {
    nvidia,pins = "kb_row10_ps2";
    nvidia,function = "uarta";
    nvidia,enable-input = <1>;
    nvidia,pull = <0>;
    nvidia,tristate = <1>;
   };

   kb_row9_ps1 {
    nvidia,pins = "kb_row9_ps1";
    nvidia,function = "uarta";
    nvidia,enable-input = <0>;
    nvidia,pull = <0>;
    nvidia,tristate = <0>;
   };

   pwr_i2c_scl_pz6 {
    nvidia,pins = "pwr_i2c_scl_pz6";
    nvidia,function = "i2cpwr";
    nvidia,enable-input = <1>;
    nvidia,pull = <0>;
    nvidia,tristate = <0>;
    nvidia,lock = <0>;
    nvidia,open-drain = <0>;
   };

   pwr_i2c_sda_pz7 {
    nvidia,pins = "pwr_i2c_sda_pz7";
    nvidia,function = "i2cpwr";
    nvidia,enable-input = <1>;
    nvidia,pull = <0>;
    nvidia,tristate = <0>;
    nvidia,lock = <0>;
    nvidia,open-drain = <0>;
   };

   sys_clk_req_pz5 {
    nvidia,pins = "sys_clk_req_pz5";
    nvidia,function = "sysclk";
    nvidia,enable-input = <0>;
    nvidia,pull = <0>;
    nvidia,tristate = <0>;
   };

   jtag_rtck {
    nvidia,pins = "jtag_rtck";
    nvidia,function = "rtck";
    nvidia,enable-input = <1>;
    nvidia,pull = <0>;
    nvidia,tristate = <0>;
   };

   clk_32k_in {
    nvidia,pins = "clk_32k_in";
    nvidia,function = "clk";
    nvidia,enable-input = <1>;
    nvidia,pull = <0>;
    nvidia,tristate = <1>;
   };

   core_pwr_req {
    nvidia,pins = "core_pwr_req";
    nvidia,function = "pwron";
    nvidia,enable-input = <0>;
    nvidia,pull = <0>;
    nvidia,tristate = <0>;
   };

   cpu_pwr_req {
    nvidia,pins = "cpu_pwr_req";
    nvidia,function = "cpu";
    nvidia,enable-input = <0>;
    nvidia,pull = <0>;
    nvidia,tristate = <0>;
   };

   pwr_int_n {
    nvidia,pins = "pwr_int_n";
    nvidia,function = "pmi";
    nvidia,enable-input = <1>;
    nvidia,pull = <0>;
    nvidia,tristate = <1>;
   };

   reset_out_n {
    nvidia,pins = "reset_out_n";
    nvidia,function = "reset_out_n";
    nvidia,enable-input = <0>;
    nvidia,pull = <0>;
    nvidia,tristate = <0>;
   };

   clk3_out_pee0 {
    nvidia,pins = "clk3_out_pee0";
    nvidia,function = "extperiph3";
    nvidia,enable-input = <0>;
    nvidia,pull = <0>;
    nvidia,tristate = <0>;
   };

   gen1_i2c_scl_pc4 {
    nvidia,pins = "gen1_i2c_scl_pc4";
    nvidia,function = "i2c1";
    nvidia,enable-input = <1>;
    nvidia,pull = <0>;
    nvidia,tristate = <0>;
    nvidia,lock = <0>;
    nvidia,open-drain = <0>;
   };

   gen1_i2c_sda_pc5 {
    nvidia,pins = "gen1_i2c_sda_pc5";
    nvidia,function = "i2c1";
    nvidia,enable-input = <1>;
    nvidia,pull = <0>;
    nvidia,tristate = <0>;
    nvidia,lock = <0>;
    nvidia,open-drain = <0>;
   };

   uart2_cts_n_pj5 {
    nvidia,pins = "uart2_cts_n_pj5";
    nvidia,function = "uartb";
    nvidia,enable-input = <1>;
    nvidia,pull = <0>;
    nvidia,tristate = <1>;
   };

   uart2_rts_n_pj6 {
    nvidia,pins = "uart2_rts_n_pj6";
    nvidia,function = "uartb";
    nvidia,enable-input = <0>;
    nvidia,pull = <0>;
    nvidia,tristate = <0>;
   };

   uart2_rxd_pc3 {
    nvidia,pins = "uart2_rxd_pc3";
    nvidia,function = "irda";
    nvidia,enable-input = <1>;
    nvidia,pull = <0>;
    nvidia,tristate = <1>;
   };

   uart2_txd_pc2 {
    nvidia,pins = "uart2_txd_pc2";
    nvidia,function = "irda";
    nvidia,enable-input = <0>;
    nvidia,pull = <0>;
    nvidia,tristate = <0>;
   };

   uart3_cts_n_pa1 {
    nvidia,pins = "uart3_cts_n_pa1";
    nvidia,function = "uartc";
    nvidia,enable-input = <1>;
    nvidia,pull = <0>;
    nvidia,tristate = <1>;
   };

   uart3_rts_n_pc0 {
    nvidia,pins = "uart3_rts_n_pc0";
    nvidia,function = "uartc";
    nvidia,enable-input = <0>;
    nvidia,pull = <0>;
    nvidia,tristate = <0>;
   };

   uart3_rxd_pw7 {
    nvidia,pins = "uart3_rxd_pw7";
    nvidia,function = "uartc";
    nvidia,enable-input = <1>;
    nvidia,pull = <0>;
    nvidia,tristate = <1>;
   };

   uart3_txd_pw6 {
    nvidia,pins = "uart3_txd_pw6";
    nvidia,function = "uartc";
    nvidia,enable-input = <0>;
    nvidia,pull = <0>;
    nvidia,tristate = <0>;
   };

   owr {
    nvidia,pins = "owr";
    nvidia,function = "owr";
    nvidia,enable-input = <1>;
    nvidia,pull = <0>;
    nvidia,tristate = <0>;
   };

   hdmi_cec_pee3 {
    nvidia,pins = "hdmi_cec_pee3";
    nvidia,function = "cec";
    nvidia,enable-input = <1>;
    nvidia,pull = <0>;
    nvidia,tristate = <0>;
    nvidia,lock = <0>;
    nvidia,open-drain = <0>;
   };

   ddc_scl_pv4 {
    nvidia,pins = "ddc_scl_pv4";
    nvidia,function = "i2c4";
    nvidia,enable-input = <1>;
    nvidia,pull = <0>;
    nvidia,tristate = <0>;
    nvidia,lock = <0>;
    nvidia,rcv-sel = <0>;
   };

   ddc_sda_pv5 {
    nvidia,pins = "ddc_sda_pv5";
    nvidia,function = "i2c4";
    nvidia,enable-input = <1>;
    nvidia,pull = <0>;
    nvidia,tristate = <0>;
    nvidia,lock = <0>;
    nvidia,rcv-sel = <0>;
   };

   spdif_in_pk6 {
    nvidia,pins = "spdif_in_pk6";
    nvidia,function = "usb";
    nvidia,enable-input = <1>;
    nvidia,pull = <2>;
    nvidia,tristate = <0>;
    nvidia,lock = <0>;
   };

   usb_vbus_en0_pn4 {
    nvidia,pins = "usb_vbus_en0_pn4";
    nvidia,function = "usb";
    nvidia,enable-input = <1>;
    nvidia,pull = <2>;
    nvidia,tristate = <0>;
    nvidia,lock = <0>;
    nvidia,open-drain = <1>;
   };

   gpio_x6_aud_px6 {
    nvidia,pins = "gpio_x6_aud_px6";
    nvidia,function = "spi6";
    nvidia,enable-input = <1>;
    nvidia,pull = <2>;
    nvidia,tristate = <1>;
   };
  };

  drive_default: drive {
   drive_sdio1 {
    nvidia,pins = "drive_sdio1";
    nvidia,high-speed-mode = <1>;
    nvidia,schmitt = <0>;
    nvidia,low-power-mode = <3>;
    nvidia,pull-down-strength = <36>;
    nvidia,pull-up-strength = <20>;
    nvidia,slew-rate-rising = <2>;
    nvidia,slew-rate-falling = <2>;
   };

   drive_sdio3 {
    nvidia,pins = "drive_sdio3";
    nvidia,high-speed-mode = <1>;
    nvidia,schmitt = <0>;
    nvidia,low-power-mode = <3>;
    nvidia,pull-down-strength = <22>;
    nvidia,pull-up-strength = <36>;
    nvidia,slew-rate-rising = <0>;
    nvidia,slew-rate-falling = <0>;
   };

   drive_gma {
    nvidia,pins = "drive_gma";
    nvidia,high-speed-mode = <1>;
    nvidia,schmitt = <0>;
    nvidia,low-power-mode = <3>;
    nvidia,pull-down-strength = <2>;
    nvidia,pull-up-strength = <2>;
    nvidia,slew-rate-rising = <0>;
    nvidia,slew-rate-falling = <0>;
    nvidia,drive-type = <1>;
   };
  };

  pinmux_unused_lowpower: unused_lowpower {
   clk1_req_pee2 {
    nvidia,pins = "clk1_req_pee2";
    nvidia,function = "rsvd3";
    nvidia,enable-input = <0>;
    nvidia,pull = <1>;
    nvidia,tristate = <1>;
   };

   usb_vbus_en1_pn5 {
    nvidia,pins = "usb_vbus_en1_pn5";
    nvidia,function = "rsvd3";
    nvidia,enable-input = <0>;
    nvidia,pull = <1>;
    nvidia,tristate = <1>;
   };
  };
 };
};
# 6 "arch/arm/boot/dts/tegra114-dalmore-e1611-1000-a00-00.dts" 2

/ {
 model = "NVIDIA Tegra114 dalmore evaluation board";
 compatible = "nvidia,dalmore", "nvidia,tegra114";
 nvidia,dtsfilename = "arch/arm/boot/dts/tegra114-dalmore-e1611-1000-a00-00.dts";

 pinmux {
  default {
   gmi_iordy_pi5 {
    nvidia,pull = <0>;
   };
  };
 };
};
# 1 "arch/arm/boot/dts/tegra114-dalmore.dts" 2
